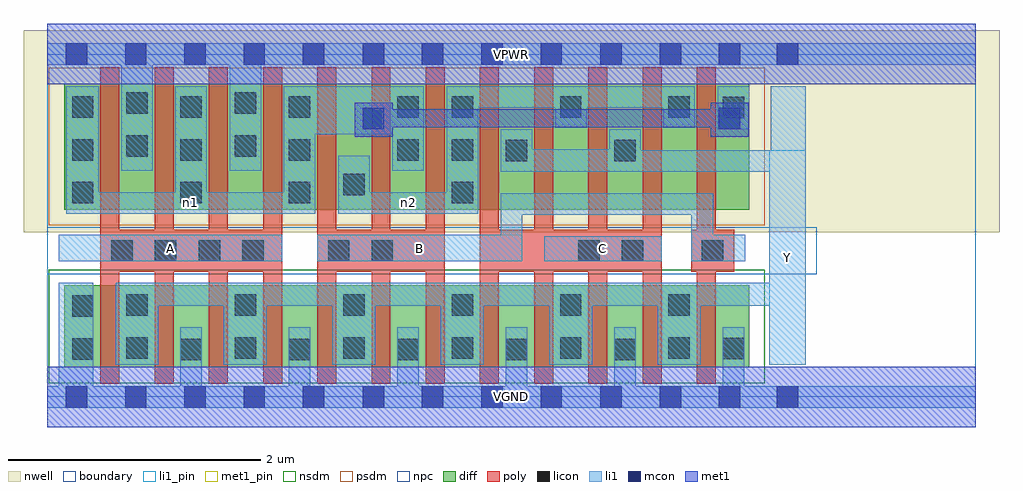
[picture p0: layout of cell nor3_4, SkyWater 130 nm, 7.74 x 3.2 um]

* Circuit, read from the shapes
.subckt nor3_4 A B C VGND VPWR Y n1 n2
XM1 Y A VGND VSUBS sky130_fd_pr__nfet_01v8 w=0.65 l=0.15 m=4
XM2 Y B VGND VSUBS sky130_fd_pr__nfet_01v8 w=0.65 l=0.15 m=4
XM3 VGND C Y VSUBS sky130_fd_pr__nfet_01v8 w=0.65 l=0.15 m=4
XM4 VPWR A n1 n3 sky130_fd_pr__pfet_01v8 w=1 l=0.15 m=4
XM5 n2 B n1 n3 sky130_fd_pr__pfet_01v8 w=1 l=0.15 m=4
XM6 Y C n2 n3 sky130_fd_pr__pfet_01v8 w=1 l=0.15 m=4
.ends

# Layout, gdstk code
import gdstk
lib = gdstk.Library(unit=1e-6, precision=1e-09)
def R(c, l, rs):  # rectangles x0, y0, x1, y1
    for r in rs: c.add(gdstk.rectangle(r[:2], r[2:], *l))
def A(c, l, x, y, w, h, nx, ny, dx, dy):  # array of equal rectangles
    R(c, l, [(x+i*dx, y+j*dy, x+i*dx+w, y+j*dy+h) for i in range(nx) for j in range(ny)])
nwell = (64, 20)
diff = (65, 20)
poly = (66, 20)
licon = (66, 44)
li1_pin = (67, 16)
li1 = (67, 20)
mcon = (67, 44)
met1_pin = (68, 16)
met1 = (68, 20)
nsdm = (93, 44)
psdm = (94, 20)
npc = (95, 20)
boundary = (235, 4)

nor3_4 = lib.new_cell('nor3_4')
R(nor3_4, nwell, [(-0.19,1.305,7.55,2.91), (0,1.305,7.36,2.91)])
R(nor3_4, diff, [(0.135,0.235,5.565,0.885), (0.135,1.485,5.565,2.485)])
A(nor3_4, poly, 0.42, 0.105, 0.15, 2.51, 12, 1, 0.43, 0)
R(nor3_4, poly, [(0.42,0.995,1.86,1.325), (2.14,0.995,3.15,1.325), (3.43,0.995,4.87,1.325), (5.105,0.995,5.445,1.325)])
A(nor3_4, licon, 1.055, 0.29, 0.17, 0.17, 5, 1, 0.86, 0)
A(nor3_4, licon, 0.625, 0.305, 0.17, 0.17, 6, 2, 0.86, 0.34)
A(nor3_4, licon, 0.195, 1.535, 0.17, 0.17, 3, 1, 0.86, 0)
A(nor3_4, licon, 0.195, 1.875, 0.17, 0.17, 4, 2, 0.86, 0.34)
A(nor3_4, licon, 3.205, 2.215, 0.17, 0.17, 3, 1, 0.86, 0)
R(nor3_4, licon, [(0.195,0.295,0.365,0.465), (5.355,0.3,5.525,0.47), (0.195,0.635,0.365,0.805), (0.505,1.075,0.675,1.245), (0.85,1.075,1.02,1.245), (1.2,1.075,1.37,1.245), (1.545,1.075,1.715,1.245), (2.225,1.075,2.395,1.245), (2.57,1.075,2.74,1.245), (4.21,1.075,4.38,1.245), (4.555,1.075,4.725,1.245), (5.19,1.075,5.36,1.245), (3.205,1.535,3.375,1.705), (2.345,1.6,2.515,1.77), (3.635,1.87,3.805,2.04), (4.495,1.87,4.665,2.04), (3.205,1.875,3.375,2.045), (0.625,1.905,0.795,2.075), (1.485,1.905,1.655,2.075), (5.355,2.21,5.525,2.38), (0.625,2.245,0.795,2.415), (1.485,2.245,1.655,2.415)])
R(nor3_4, li1_pin, [(5.725,0.255,6.015,1.955), (0.09,1.075,1.86,1.285), (2.14,1.075,3.765,1.285), (3.94,1.075,4.87,1.275)])
A(nor3_4, li1, 1.055, -0.085, 0.17, 0.64, 6, 1, 0.86, 0)
A(nor3_4, li1, 0.54, 0.255, 0.34, 0.65, 6, 1, 0.86, 0)
R(nor3_4, li1, [(0,-0.085,7.36,0.085), (0.09,-0.085,0.365,0.905), (5.725,0.255,6.015,1.955), (5.735,0.255,6.015,2.465), (0.54,0.725,6.015,0.905), (0.09,1.075,1.86,1.285), (2.14,1.075,3.765,1.285), (3.595,1.075,3.765,1.615), (3.94,1.075,4.87,1.275), (5.105,1.075,5.535,1.285), (5.105,1.075,5.28,1.615), (3.595,1.445,5.28,1.615), (0.15,1.455,2.125,1.625), (0.15,1.455,0.405,2.465), (1.015,1.455,1.265,2.465), (1.875,1.455,2.125,2.465), (2.305,1.455,3.415,1.625), (2.305,1.455,2.555,1.915), (3.165,1.455,3.415,2.465), (3.595,1.785,3.845,2.125), (3.595,1.785,6.015,1.955), (3.595,1.785,4.705,1.965), (4.455,1.785,4.705,2.125), (0.585,1.795,0.835,2.805), (1.445,1.795,1.695,2.805), (2.735,1.795,2.985,2.465), (1.875,2.085,2.985,2.465), (5.315,2.125,5.565,2.465), (4.025,2.135,4.275,2.465), (4.885,2.135,5.135,2.465), (3.165,2.295,5.135,2.465), (0,2.635,7.36,2.805)])
A(nor3_4, mcon, 0.145, -0.085, 0.17, 0.17, 5, 2, 0.47, 2.72)
A(nor3_4, mcon, 2.5, -0.085, 0.17, 0.17, 4, 2, 0.47, 2.72)
A(nor3_4, mcon, 4.385, -0.085, 0.17, 0.17, 3, 2, 0.47, 2.72)
R(nor3_4, mcon, [(5.785,-0.085,5.955,0.085), (2.5,2.125,2.67,2.295), (5.325,2.125,5.495,2.295), (5.785,2.635,5.955,2.805)])
R(nor3_4, met1_pin, [(0,-0.24,7.36,0.24), (0,2.48,7.36,2.96)])
R(nor3_4, met1, [(0,-0.24,7.36,0.24), (2.435,2.065,2.74,2.335), (5.26,2.065,5.56,2.335), (2.435,2.14,5.56,2.28), (0,2.48,7.36,2.96)])
R(nor3_4, nsdm, [(0.01,0.11,5.69,1.01)])
R(nor3_4, psdm, [(0.01,1.36,5.69,2.61)])
R(nor3_4, npc, [(0,0.975,6.1,1.345)])
R(nor3_4, boundary, [(0,0,7.36,2.72)])
nor3_4.add(gdstk.Label('A', (0.975,1.18), layer=67, texttype=5))
nor3_4.add(gdstk.Label('B', (2.952,1.18), layer=67, texttype=5))
nor3_4.add(gdstk.Label('C', (4.405,1.175), layer=67, texttype=5))
nor3_4.add(gdstk.Label('Y', (5.87,1.105), layer=67, texttype=5))
nor3_4.add(gdstk.Label('n1', (1.137,1.54), layer=67, texttype=5))
nor3_4.add(gdstk.Label('n2', (2.86,1.54), layer=67, texttype=5))
nor3_4.add(gdstk.Label('VPWR', (3.68,2.72), layer=68, texttype=5))
nor3_4.add(gdstk.Label('VGND', (3.68,0), layer=68, texttype=5))
nor3_4.add(gdstk.Label('A', (0.975,1.18), layer=67, texttype=16))
nor3_4.add(gdstk.Label('B', (2.952,1.18), layer=67, texttype=16))
nor3_4.add(gdstk.Label('C', (4.405,1.175), layer=67, texttype=16))
nor3_4.add(gdstk.Label('Y', (5.87,1.105), layer=67, texttype=16))
nor3_4.add(gdstk.Label('VPWR', (3.68,2.72), layer=68, texttype=16))
nor3_4.add(gdstk.Label('VGND', (3.68,0), layer=68, texttype=16))

lib.write_gds('nor3_4.gds')
